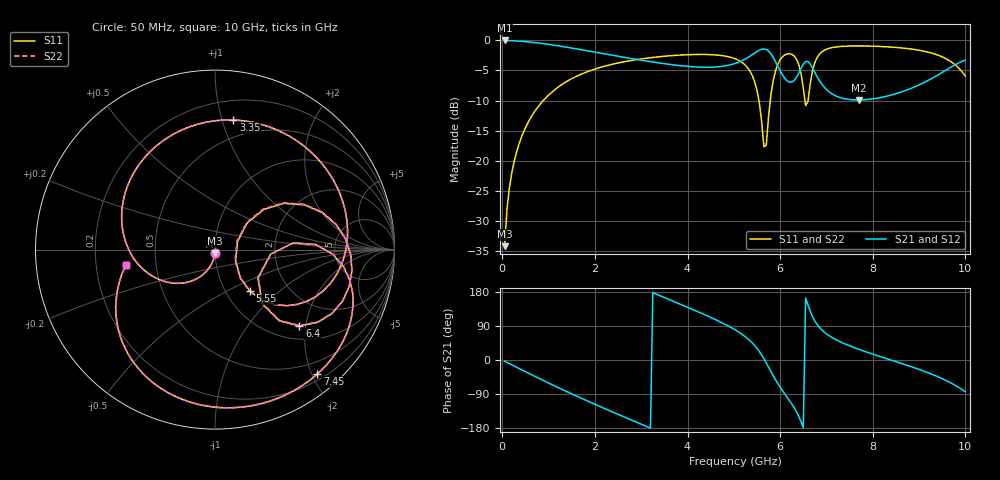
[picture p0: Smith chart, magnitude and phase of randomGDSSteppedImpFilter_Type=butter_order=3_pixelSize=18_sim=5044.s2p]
! freq	dB(S11)	phase(S11)	dB(S12)	phase(S12)
!  dB(S21)	phase(S21)	dB(S22)	phase(S22)
!S-par simulation data
#  GHz  S  DB  R 50
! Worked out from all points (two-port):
!   200 points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, 50 MHz to 10 GHz, reference 50 ohm
!   highest |S21| = 0.00 dB at 50 MHz (marker M1); lowest = -9.9 dB at 7.7 GHz (marker M2)
!   |S21| within 3 dB of the highest: start of sweep to 2.776 GHz; 5.267 GHz to 5.863 GHz (596 MHz wide, 10.7 % of centre)
!   lowest |S11| = -34.2 dB at 50 MHz (marker M3), VSWR 1.04, Z = 49.9 - j1.93 ohm
!   |S11| at or under -10 dB: start of sweep to 886.3 MHz; 5.541 GHz to 5.787 GHz (245.5 MHz wide, 4.33 % of centre); 6.535 GHz to 6.603 GHz (67.42 MHz wide, 1.03 % of centre)
!   |S22| runs from -34.2 to -0.9 dB; largest |S21 - S12| = 0
!   S11 on the Smith chart (normalised r, x): 50 MHz: 1.00, -0.04; 3.35 GHz: 0.35, +1.09; 5.55 GHz: 1.30, -0.66; 6.4 GHz: 1.29, -1.85; 7.45 GHz: 0.29, -2.08; 10 GHz: 0.33, -0.08
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0.05  -34.25 -93.0  -0.00 -3.1  -0.00 -3.1  -34.25 -93.0
0.2  -22.26 -102.7  -0.05 -12.5  -0.05 -12.5  -22.26 -102.7
0.5  -14.52 -121.4  -0.20 -30.9  -0.20 -30.9  -14.52 -121.4
1.1  -8.42 -157.2  -0.77 -66.6  -0.77 -66.6  -8.42 -157.1
1.75  -5.47 166.0  -1.61 -103.3  -1.61 -103.3  -5.47 166.1
3.35  -2.75 82.0  -3.71 172.6  -3.71 172.6  -2.74 82.1
3.4  -2.71 79.4  -3.77 170.0  -3.77 170.0  -2.70 79.5
4.4  -2.34 28.1  -4.47 117.9  -4.47 117.9  -2.34 28.2
5.05  -3.12 -9.9  -3.77 78.0  -3.77 78.0  -3.12 -9.8
5.55  -10.36 -49.9  -1.63 22.6  -1.63 22.6  -10.38 -50.2
5.7  -17.43 20.4  -1.51 -7.5  -1.51 -7.5  -17.61 21.2
5.9  -5.06 26.5  -3.54 -52.3  -3.54 -52.3  -5.07 26.9
6.15  -2.25 -9.0  -6.73 -98.0  -6.73 -98.0  -2.25 -8.7
6.4  -3.95 -42.1  -5.48 -148.4  -5.48 -148.4  -3.95 -41.8
6.55  -10.86 -33.4  -3.50 163.2  -3.50 163.2  -10.81 -33.2
6.7  -4.99 2.8  -4.60 114.5  -4.60 114.5  -4.98 2.9
6.95  -1.65 -21.6  -7.76 73.9  -7.76 73.9  -1.65 -21.5
7.45  -0.94 -50.6  -9.79 39.8  -9.79 39.8  -0.94 -50.5
7.7  -0.91 -61.4  -9.91 28.1  -9.91 28.1  -0.91 -61.3
8.35  -1.08 -86.5  -9.19 1.7  -9.19 1.7  -1.08 -86.4
9.2  -1.96 -120.4  -6.65 -33.8  -6.65 -33.8  -1.96 -120.3
10  -5.94 -170.2  -3.27 -84.0  -3.27 -84.0  -5.94 -170.1
